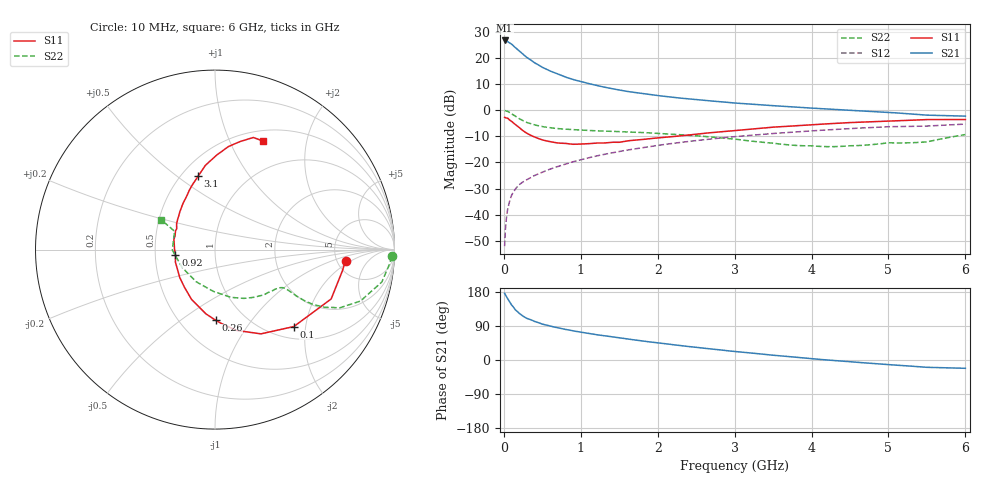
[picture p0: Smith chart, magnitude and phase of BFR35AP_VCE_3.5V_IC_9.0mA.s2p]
! Infineon Technologies  Discrete & RF Semiconductors
! BFR35AP
! VCE =  3.5 V,  IC =  9.0 mA
! Common Emitter S-Parameters:  Nov 2015
# GHz  S  MA  R  50
!  f  S11  S21  S12  S22
! GHz  MAG  ANG  MAG  ANG  MAG  ANG  MAG  ANG
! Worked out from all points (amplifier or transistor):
!   210 points, 10 MHz to 6 GHz, reference 50 ohm
!   highest |S21| = 26.7 dB at 10 MHz (marker M1)
!   |S21| within 3 dB of that: start of sweep to 160.2 MHz
!   unconditionally stable (mu >= 1): 605.1 MHz to 3.361 GHz
!   at 185 MHz: K = 0.53, MSG = 26.0 dB, |S12| = -29.0 dB
!   at 1.52 GHz: K = 1.12, MAG = 9.6 dB, |S12| = -15.7 dB
!   at 6 GHz: K = 0.95, MSG = 1.5 dB, |S12| = -5.3 dB
!   S11 on the Smith chart (normalised r, x): 10 MHz: 5.98, -1.56; 100 MHz: 1.25, -1.72; 260 MHz: 0.74, -0.69; 920 MHz: 0.64, -0.04; 3.1 GHz: 0.60, +0.60; 6 GHz: 0.63, +1.35
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0.01  0.7297 -4.8  21.56 176.0  0.0025 91.0  0.9853 -2.2
0.02  0.7198 -9.4  21.22 172.0  0.0052 82.6  0.9764 -4.6
0.05  0.7032 -23.0  20.55 161.3  0.0128 78.3  0.9468 -11.0
0.1  0.6137 -44.3  18.4 145.4  0.0234 70.6  0.8593 -19.5
0.15  0.5347 -61.4  15.73 132.3  0.0311 65.1  0.7675 -25.0
0.2  0.4656 -75.2  13.58 123.1  0.0374 62.4  0.6887 -27.8
0.24  0.4142 -84.8  12.05 117.1  0.0416 61.2  0.6393 -28.9
0.26  0.394 -89.4  11.38 114.4  0.0434 60.9  0.6177 -29.3
0.3  0.3614 -98.1  10.19 109.8  0.0468 61.1  0.5807 -29.7
0.4  0.3067 -115.2  8.068 101.8  0.0563 61.5  0.522 -29.7
0.5  0.2701 -129.1  6.615 94.7  0.0648 62.6  0.4842 -29.2
0.6  0.2504 -141.8  5.628 89.5  0.0744 63.3  0.4609 -29.0
0.7  0.2358 -152.5  4.899 84.7  0.0834 63.5  0.4435 -29.1
0.8  0.2316 -162.4  4.297 80.8  0.093 63.6  0.4321 -29.4
0.92  0.2227 -172.7  3.788 76.2  0.1049 63.6  0.4226 -30.1
1.02  0.2258 178.6  3.464 72.8  0.1143 63.6  0.4152 -31.0
1.4  0.2434 154.7  2.581 61.3  0.1518 61.8  0.3945 -35.4
2.02  0.2958 129.8  1.889 44.8  0.2138 56.5  0.3576 -46.1
3.1  0.4188 103.1  1.338 20.5  0.3202 44.2  0.2679 -75.2
4.1  0.5371 87.5  1.073 1.7  0.4106 31.6  0.2029 -126.4
5.1  0.6255 75.8  0.887 -13.6  0.484 17.6  0.236 175.7
6  0.6613 65.9  0.769 -21.9  0.5416 7.4  0.3414 151.1
